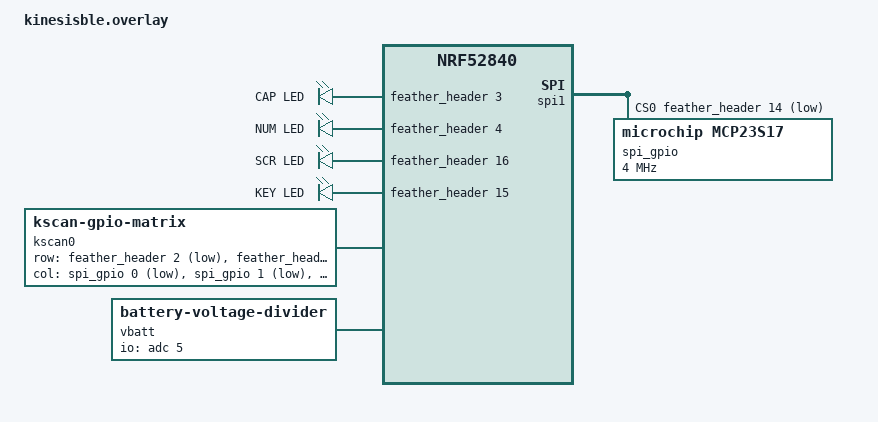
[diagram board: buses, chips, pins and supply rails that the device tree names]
/*
 * Copyright (c) 2021 The ZMK Contributors
 *
 * SPDX-License-Identifier: MIT
 */

/*
 * See Humble Hacker blog about updated keyboard matrix:
 * http: //humblehacker.com/blog/20100720/hacking-the-kinesis-contoured-keyboard/
 * https: //web.archive.org/web/20201101000000%2A;/http: //humblehacker.com/blog/20100720/hacking-the-kinesis-contoured-keyboard/
 *
 *  Wiring
 *  All columns on MCP23s17:
 *  col 0-7 -> GPA0-GPA7
 *  col 8-15 -> GPB0-GPB6
 *
 *  Rows are direct wire to GPIO:
 *  (schematic is 1 based)
 *  row       nrf52      feather nexus node
 *  row 0  -> P0.30  ->  2
 *  row 1  -> P0.05  ->  1
 *  row 2  -> P0.04  ->  0
 *  row 3  -> P1.09  ->  20
 *  row 4  -> P0.08  ->  19
 *  row 5  -> P0.06  ->  18
 *  row 6  -> P0.27  ->  17
 *
 * Diodes are built into keyswitch.  Diode direction is row to column.
 * Note the MCP23s17 can not do pin GPIO_PULL_DOWN for GPIO_ACTIVE_HIGH
 * polling.  So the polling direction is reversed by using col2row and
 * GPIO_ACTIVE_LOW polling is used.
 *
 * Kinesis LEDs
 * led     nrf52      feather nexus node
 * CAPS -> P0.28  ->  3
 * NUM  -> P0.02  ->  4
 * SCR  -> P0.26  ->  16
 * KEY  -> P0.07  ->  15
 * Power -> P0.03 ->  5
 *
 * MCP23s17
 * see column wiring above
 * signal  nrf52      feather nexus node
 * ^CS  -> P1.08  ->  14
 * SCK  -> P0.14  ->  6
 * MOSI -> P0.13  ->  7
 * MISO -> P0.15  ->  8
 * INTA -> N/C
 * INTB -> N/C
 *
 * See https: //docs.zephyrproject.org/2.3.0/guides/porting/shields.html#gpio-nexus-nodes
 * for a description of how the feather_header nexus nodes used below work.
 */


#include <dt-bindings/zmk/matrix_transform.h>
#include <common/nordic/nrf52840_uf2_boot_mode.dtsi>
#include "kinesisble-pinctrl.dtsi"
#include "kinesisble-transform.dtsi"
#include "kinesisble-layouts.dtsi"

/ {
    behaviors {
        // &kbat: show the battery level on the indicator LEDs
        kbat: kinesis_battery {
            compatible = "zmk,behavior-kinesis-battery";
            #binding-cells = <0>;
            display-name = "Battery Level";
        };
    };

    chosen {
        zmk,kscan = &kscan0;
        zmk,physical-layout = &physical_layout0;
        zmk,battery = &vbatt;
    };

    leds: leds {
        compatible = "gpio-leds";
        ledu1: led_u1 {
            gpios = <&feather_header 3 GPIO_ACTIVE_HIGH>;
            label = "CAP LED";
            status = "okay";
        };
        ledu2: led_u2 {
            gpios = <&feather_header 4 GPIO_ACTIVE_HIGH>;
            label = "NUM LED";
            status = "okay";
        };
        ledu3: led_u3 {
            gpios = <&feather_header 16 GPIO_ACTIVE_HIGH>;
            label = "SCR LED";
            status = "okay";
        };
        ledu4: led_u4 {
            gpios = <&feather_header 15 GPIO_ACTIVE_HIGH>;
            label = "KEY LED";
            status = "okay";
        };
        // Reserved for a future power LED next to the on/off switch; not fitted yet.
        led_pow: led_pow {
            gpios = <&feather_header 5 GPIO_ACTIVE_HIGH>;
            label = "BUTTON LED";
            status = "disabled";
        };
    };

    // pwmleds {
        //     compatible = "pwm-leds";
        //     pwm_ledu1: pwm_led_u1 {
            //         pwms = <&pwm0 28>;
            //         label = "PWM CAP LED";
        //     };
        //     pwm_ledu2: pwm_led_u2 {
            //         pwms = <&pwm0 2>;
            //         label = "PWM NUM LED";
        //     };
        //     pwm_ledu3: pwm_led_u3 {
            //         pwms = <&pwm0 26>;
            //         label = "PWM SCR LED";
        //     };
        //     pwm_ledu4: pwm_led_u4 {
            //         pwms = <&pwm0 7>;
            //         label = "KEY SCR LED";
        //     };
        //     pwm_led_pow: pwm_led_pow {
            //         pwms = <&pwm0 3>;
            //         label = "PWM BUTTON LED";
        //     };
    // };


    kscan0: kscan {
        compatible = "zmk,kscan-gpio-matrix";
        wakeup-source;
        // Report presses after 1 ms (default 5) for lower latency; keep the
        // 5 ms release debounce so a bouncing switch can't double-type.
        debounce-press-ms = <1>;
        debounce-release-ms = <5>;

        diode-direction = "col2row";
        row-gpios
        = <&feather_header 2  (GPIO_ACTIVE_LOW | GPIO_PULL_UP)>
        , <&feather_header 1  (GPIO_ACTIVE_LOW | GPIO_PULL_UP)>
        , <&feather_header 0  (GPIO_ACTIVE_LOW | GPIO_PULL_UP)>
        // , <&feather_header 11 (GPIO_ACTIVE_LOW | GPIO_PULL_UP)> for patched feather
        , <&feather_header 20 (GPIO_ACTIVE_LOW | GPIO_PULL_UP)>
        , <&feather_header 19 (GPIO_ACTIVE_LOW | GPIO_PULL_UP)>
        , <&feather_header 18 (GPIO_ACTIVE_LOW | GPIO_PULL_UP)>
        , <&feather_header 17 (GPIO_ACTIVE_LOW | GPIO_PULL_UP)>
        ;
        col-gpios
        = <&spi_gpio 0  GPIO_ACTIVE_LOW>
        , <&spi_gpio 1  GPIO_ACTIVE_LOW>
        , <&spi_gpio 2  GPIO_ACTIVE_LOW>
        , <&spi_gpio 3  GPIO_ACTIVE_LOW>
        , <&spi_gpio 4  GPIO_ACTIVE_LOW>
        , <&spi_gpio 5  GPIO_ACTIVE_LOW>
        , <&spi_gpio 6  GPIO_ACTIVE_LOW>
        , <&spi_gpio 7  GPIO_ACTIVE_LOW>
        , <&spi_gpio 8  GPIO_ACTIVE_LOW>
        , <&spi_gpio 9  GPIO_ACTIVE_LOW>
        , <&spi_gpio 10 GPIO_ACTIVE_LOW>
        , <&spi_gpio 11 GPIO_ACTIVE_LOW>
        , <&spi_gpio 12 GPIO_ACTIVE_LOW>
        , <&spi_gpio 13 GPIO_ACTIVE_LOW>
        , <&spi_gpio 14 GPIO_ACTIVE_LOW>
        , <&spi_gpio 15 GPIO_ACTIVE_LOW>
        ;
    };

    vbatt: vbatt {
        compatible = "zmk,battery-voltage-divider";
        io-channels = <&adc 5>;
        output-ohms = <1000000>;  // 1MΩ
        full-ohms = <(1000000 + 1000000)>; // 1MΩ + 1MΩ
    };
};


// &pwm0 {
    //     status = "okay";
    //     pinctrl-0 = <28>;
    //     pinctrl-1 = <2>;
    //     pinctrl-2 = <26>;
    //     pinctrl-3 = <7>;
    //     pinctrl-4 = <3>;
    //     pinctrl-names = "CAP", "NUM", "SCR", "SCR", "PWR";
// };

// &pwm0 {
    //     status = "okay";
    //     pinctrl-0 = <&pwm0_default>;
    //     pinctrl-1 = <&pwm0_sleep>;
    //     pinctrl-names = "default", "sleep";
// };


/* MCP23s17 GPIO Expander */
&spi1 {
    status = "okay";
    cs-gpios = <&feather_header 14 1>;
    compatible = "nordic,nrf-spi";
    pinctrl-0 = <&spi1_default>;
    pinctrl-1 = <&spi1_sleep>;
    pinctrl-names = "default", "sleep";

    spi_gpio: mcp23s17@0 {
        status = "okay";
        compatible = "microchip,mcp23s17";
        gpio-controller;
        #gpio-cells = <2>;
        // MCP23S17 is rated to 10 MHz; 4 MHz shortens each matrix scan with margin
        spi-max-frequency = <4000000>;
        reg = <0>;
        ngpios = <16>;
    };
};

/* The /uf2 board variant adds a USB serial console; keep it off unless the
 * zmk-usb-logging snippet adds its own. */
&board_cdc_acm_uart {
    status = "disabled";
};

&physical_layout0 {
    transform = <&default_transform>;
};
